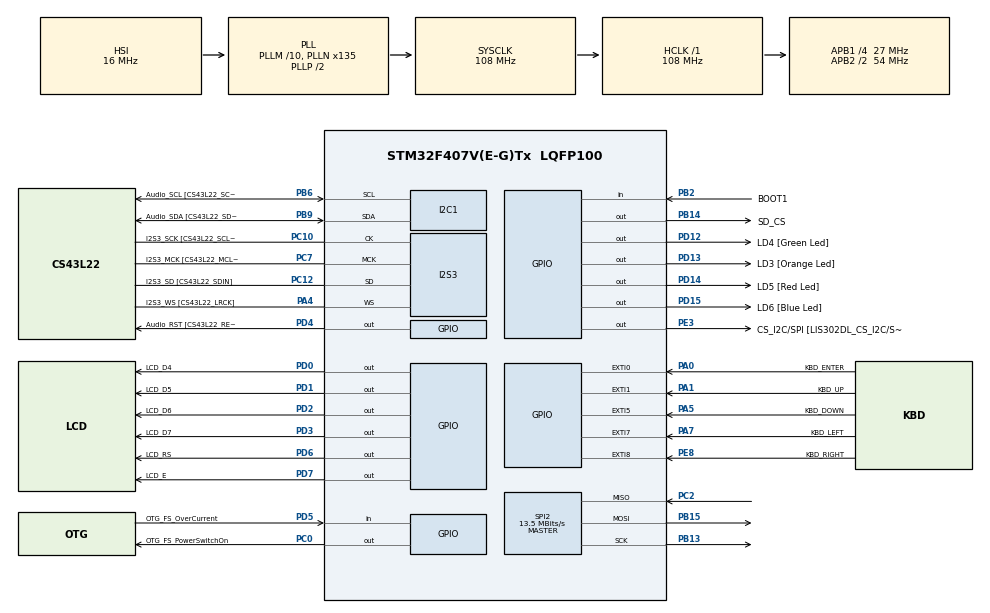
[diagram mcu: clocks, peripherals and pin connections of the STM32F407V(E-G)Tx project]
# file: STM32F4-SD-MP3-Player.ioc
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Dma.Request0=SPI3_TX
Dma.SPI3_TX.0.Direction=DMA_MEMORY_TO_PERIPH
Dma.SPI3_TX.0.FIFOMode=DMA_FIFOMODE_DISABLE
Dma.SPI3_TX.0.Instance=DMA1_Stream5
Dma.SPI3_TX.0.MemDataAlignment=DMA_MDATAALIGN_HALFWORD
Dma.SPI3_TX.0.MemInc=DMA_MINC_ENABLE
Dma.SPI3_TX.0.Mode=DMA_CIRCULAR
Dma.SPI3_TX.0.PeriphDataAlignment=DMA_PDATAALIGN_HALFWORD
Dma.SPI3_TX.0.PeriphInc=DMA_PINC_DISABLE
Dma.SPI3_TX.0.Priority=DMA_PRIORITY_LOW
FATFS._CODE_PAGE=850
FATFS._USE_LFN=1
FATFS._USE_MKFS=0
I2S3.AudioFreq=I2S_AUDIOFREQ_44K
I2S3.ErrorAudioFreq=0.24 %
I2S3.FullDuplexMode=I2S_FULLDUPLEXMODE_DISABLE
I2S3.Instance=SPI$Index
I2S3.RealAudioFreq=44.107 KHz
I2S3.VirtualMode=I2S_MODE_MASTER
Mcu.Family=STM32F4
Mcu.Name=STM32F407V(E-G)Tx
Mcu.Package=LQFP100
NVIC.DMA1_Stream5_IRQn=true\:0\:0\:false\:false\:true\:false\:true\:true
NVIC.EXTI0_IRQn=true\:0\:0\:false\:false\:true\:true\:true\:true
NVIC.EXTI1_IRQn=true\:0\:0\:false\:false\:true\:true\:true\:true
NVIC.EXTI9_5_IRQn=true\:0\:0\:false\:false\:true\:true\:true\:true
NVIC.PriorityGroup=NVIC_PRIORITYGROUP_0
PA0-WKUP.GPIO_Label=KBD_ENTER
PA0-WKUP.Signal=GPXTI0
PA1.GPIO_Label=KBD_UP
PA1.GPIO_ModeDefaultEXTI=GPIO_MODE_IT_FALLING
PA1.GPIO_PuPd=GPIO_PULLUP
PA1.Signal=GPXTI1
PA10.GPIO_Label=OTG_FS_ID
PA10.GPIO_Mode=GPIO_MODE_AF_PP
PA10.GPIO_PuPd=GPIO_NOPULL
PA10.GPIO_Speed=GPIO_SPEED_FREQ_LOW
PA10.Signal=USB_OTG_FS_ID
PA11.GPIO_Label=OTG_FS_DM
PA11.GPIO_Mode=GPIO_MODE_AF_PP
PA11.GPIO_PuPd=GPIO_NOPULL
PA11.GPIO_Speed=GPIO_SPEED_FREQ_LOW
PA11.Signal=USB_OTG_FS_DM
PA12.GPIO_Label=OTG_FS_DP
PA12.GPIO_Mode=GPIO_MODE_AF_PP
PA12.GPIO_PuPd=GPIO_NOPULL
PA12.GPIO_Speed=GPIO_SPEED_FREQ_LOW
PA12.Signal=USB_OTG_FS_DP
PA13.GPIO_Label=SWDIO
PA13.Signal=SYS_JTMS-SWDIO
PA14.GPIO_Label=SWCLK
PA14.Signal=SYS_JTCK-SWCLK
PA4.GPIO_Label=I2S3_WS [CS43L22_LRCK]
PA4.GPIO_Mode=GPIO_MODE_AF_PP
PA4.GPIO_PuPd=GPIO_NOPULL
PA4.GPIO_Speed=GPIO_SPEED_FREQ_LOW
PA4.Mode=Half_Duplex_Master
PA4.Signal=I2S3_WS
PA5.GPIO_Label=KBD_DOWN
PA5.GPIO_ModeDefaultEXTI=GPIO_MODE_IT_FALLING
PA5.GPIO_PuPd=GPIO_PULLUP
PA5.Signal=GPXTI5
PA7.GPIO_Label=KBD_LEFT
PA7.GPIO_ModeDefaultEXTI=GPIO_MODE_IT_FALLING
PA7.GPIO_PuPd=GPIO_PULLUP
PA7.Signal=GPXTI7
PA9.GPIO_Label=VBUS_FS
PA9.GPIO_Mode=GPIO_MODE_INPUT
PA9.GPIO_PuPd=GPIO_NOPULL
PA9.Signal=USB_OTG_FS_VBUS
PB10.GPIO_Label=CLK_IN [MP45DT02_CLK]
PB10.GPIO_Mode=GPIO_MODE_AF_PP
PB10.GPIO_PuPd=GPIO_NOPULL
PB10.GPIO_Speed=GPIO_SPEED_FREQ_LOW
PB10.Signal=I2S2_CK
PB13.Mode=Full_Duplex_Master
PB13.Signal=SPI2_SCK
PB14.GPIO_Label=SD_CS
PB14.PinState=GPIO_PIN_SET
PB14.Signal=GPIO_Output
PB15.Mode=Full_Duplex_Master
PB15.Signal=SPI2_MOSI
PB2.GPIO_Label=BOOT1
PB2.GPIO_Mode=GPIO_MODE_INPUT
PB2.GPIO_PuPd=GPIO_NOPULL
PB2.Signal=GPIO_Input
PB3.GPIO_Label=SWO
PB3.Signal=SYS_JTDO-SWO
PB6.GPIO_Label=Audio_SCL [CS43L22_SCL]
PB6.GPIO_Mode=GPIO_MODE_AF_OD
PB6.GPIO_PuPd=GPIO_NOPULL
PB6.GPIO_Speed=GPIO_SPEED_FREQ_LOW
PB6.Mode=I2C
PB6.Signal=I2C1_SCL
PB9.GPIO_Label=Audio_SDA [CS43L22_SDA]
PB9.GPIO_Mode=GPIO_MODE_AF_OD
PB9.GPIO_PuPd=GPIO_NOPULL
PB9.GPIO_Speed=GPIO_SPEED_FREQ_LOW
PB9.Mode=I2C
PB9.Signal=I2C1_SDA
PC0.GPIO_Label=OTG_FS_PowerSwitchOn
PC0.GPIO_PuPd=GPIO_NOPULL
PC0.GPIO_Speed=GPIO_SPEED_FREQ_LOW
PC0.PinState=GPIO_PIN_SET
PC0.Signal=GPIO_Output
PC10.GPIO_Label=I2S3_SCK [CS43L22_SCLK]
PC10.GPIO_Mode=GPIO_MODE_AF_PP
PC10.GPIO_PuPd=GPIO_NOPULL
PC10.GPIO_Speed=GPIO_SPEED_FREQ_LOW
PC10.Mode=Half_Duplex_Master
PC10.Signal=I2S3_CK
PC12.GPIO_Label=I2S3_SD [CS43L22_SDIN]
PC12.GPIO_Mode=GPIO_MODE_AF_PP
PC12.GPIO_PuPd=GPIO_NOPULL
PC12.GPIO_Speed=GPIO_SPEED_FREQ_LOW
PC12.Mode=Half_Duplex_Master
PC12.Signal=I2S3_SD
PC14-OSC32_IN.GPIO_Label=PC14-OSC32_IN
PC14-OSC32_IN.Signal=RCC_OSC32_IN
PC15-OSC32_OUT.GPIO_Label=PC15-OSC32_OUT
PC15-OSC32_OUT.Signal=RCC_OSC32_OUT
PC2.Mode=Full_Duplex_Master
PC2.Signal=SPI2_MISO
PC3.GPIO_Label=PDM_OUT [MP45DT02_DOUT]
PC3.GPIO_Mode=GPIO_MODE_AF_PP
PC3.GPIO_PuPd=GPIO_NOPULL
PC3.GPIO_Speed=GPIO_SPEED_FREQ_LOW
PC3.Signal=I2S2_SD
PC7.GPIO_Label=I2S3_MCK [CS43L22_MCLK]
PC7.GPIO_Mode=GPIO_MODE_AF_PP
PC7.GPIO_PuPd=GPIO_NOPULL
PC7.GPIO_Speed=GPIO_SPEED_FREQ_LOW
PC7.Mode=Master_Clock_Activated
PC7.Signal=I2S3_MCK
PD0.GPIO_Label=LCD_D4
PD0.Signal=GPIO_Output
PD1.GPIO_Label=LCD_D5
PD1.Signal=GPIO_Output
PD12.GPIO_Label=LD4 [Green Led]
PD12.GPIO_PuPd=GPIO_NOPULL
PD12.GPIO_Speed=GPIO_SPEED_FREQ_LOW
PD12.Signal=GPIO_Output
PD13.GPIO_Label=LD3 [Orange Led]
PD13.GPIO_PuPd=GPIO_NOPULL
PD13.GPIO_Speed=GPIO_SPEED_FREQ_LOW
PD13.Signal=GPIO_Output
PD14.GPIO_Label=LD5 [Red Led]
PD14.GPIO_PuPd=GPIO_NOPULL
PD14.GPIO_Speed=GPIO_SPEED_FREQ_LOW
PD14.Signal=GPIO_Output
PD15.GPIO_Label=LD6 [Blue Led]
PD15.GPIO_PuPd=GPIO_NOPULL
PD15.GPIO_Speed=GPIO_SPEED_FREQ_LOW
PD15.Signal=GPIO_Output
PD2.GPIO_Label=LCD_D6
PD2.Signal=GPIO_Output
PD3.GPIO_Label=LCD_D7
PD3.Signal=GPIO_Output
PD4.GPIO_Label=Audio_RST [CS43L22_RESET]
PD4.GPIO_PuPd=GPIO_NOPULL
PD4.GPIO_Speed=GPIO_SPEED_FREQ_LOW
PD4.Signal=GPIO_Output
PD5.GPIO_Label=OTG_FS_OverCurrent
PD5.GPIO_Mode=GPIO_MODE_INPUT
PD5.GPIO_PuPd=GPIO_NOPULL
PD5.Signal=GPIO_Input
PD6.GPIO_Label=LCD_RS
PD6.Signal=GPIO_Output
PD7.GPIO_Label=LCD_E
PD7.Signal=GPIO_Output
PE3.GPIO_Label=CS_I2C/SPI [LIS302DL_CS_I2C/SPI]
PE3.GPIO_PuPd=GPIO_NOPULL
PE3.GPIO_Speed=GPIO_SPEED_FREQ_LOW
PE3.Signal=GPIO_Output
PE8.GPIO_Label=KBD_RIGHT
PE8.GPIO_ModeDefaultEXTI=GPIO_MODE_IT_FALLING
PE8.GPIO_PuPd=GPIO_PULLUP
PE8.Signal=GPXTI8
PH0-OSC_IN.GPIO_Label=PH0-OSC_IN
PH0-OSC_IN.Signal=RCC_OSC_IN
PH1-OSC_OUT.GPIO_Label=PH1-OSC_OUT
PH1-OSC_OUT.Signal=RCC_OSC_OUT
ProjectManager.HeapSize=0x200
ProjectManager.StackSize=0x400
ProjectManager.TargetToolchain=STM32CubeIDE
RCC.48MHZClocksFreq_Value=30857142.85714286
RCC.AHBFreq_Value=108000000
RCC.APB1CLKDivider=RCC_HCLK_DIV4
RCC.APB1Freq_Value=27000000
RCC.APB1TimFreq_Value=54000000
RCC.APB2CLKDivider=RCC_HCLK_DIV2
RCC.APB2Freq_Value=54000000
RCC.APB2TimFreq_Value=108000000
RCC.CortexFreq_Value=108000000
RCC.HCLKFreq_Value=108000000
RCC.HSE_VALUE=8000000
RCC.HSI_VALUE=16000000
RCC.LSE_VALUE=32768
RCC.PLLI2SN=247
RCC.PLLI2SR=5
RCC.PLLM=10
RCC.PLLN=135
RCC.PLLQ=7
RCC.SYSCLKFreq_VALUE=108000000
RCC.SYSCLKSource=RCC_SYSCLKSOURCE_PLLCLK
RCC.VCOOutputFreq_Value=216000000
SPI2.CalculateBaudRate=13.5 MBits/s
SPI2.Direction=SPI_DIRECTION_2LINES
SPI2.Mode=SPI_MODE_MASTER
SPI2.VirtualType=VM_MASTER
TIM6.Prescaler=54-1
VP_FATFS_VS_Generic.Mode=User_defined
VP_TIM6_VS_ClockSourceINT.Mode=Enable_Timer
board=STM32F407G-DISC1

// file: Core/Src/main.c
/* USER CODE BEGIN Header */
/**
  ******************************************************************************
  * @file           : main.c
  * @brief          : Main program body
  ******************************************************************************
  * @attention
  *
  * Copyright (c) 2023 STMicroelectronics.
  * All rights reserved.
  *
  * This software is licensed under terms that can be found in the LICENSE file
  * in the root directory of this software component.
  * If no LICENSE file comes with this software, it is provided AS-IS.
  *
  ******************************************************************************
  */
/* USER CODE END Header */
#include "main.h"
#include "fatfs.h"

/* USER CODE BEGIN Includes */
#include <stdio.h>
#include <stdbool.h>
#include "HD44780.h"
#include "HD44780_io_wrapper.h"
#include "display.h"
#include "dir.h"
#include "keyboard.h"
#include "player.h"
#include "gui.h"
#include "delay.h"
/* USER CODE END Includes */

I2C_HandleTypeDef hi2c1;

I2S_HandleTypeDef hi2s3;
DMA_HandleTypeDef hdma_spi3_tx;

SPI_HandleTypeDef hspi2;

TIM_HandleTypeDef htim6;

void SystemClock_Config(void);
static void MX_GPIO_Init(void);
static void MX_DMA_Init(void);
static void MX_I2C1_Init(void);
static void MX_I2S3_Init(void);
static void MX_SPI2_Init(void);
static void MX_TIM6_Init(void);

/* USER CODE BEGIN 0 */
static void __attribute__((noreturn)) halt(void) {
	while (1);
}
/* USER CODE END 0 */

int main(void)
{

  /* MCU Configuration--------------------------------------------------------*/

  /* Reset of all peripherals, Initializes the Flash interface and the Systick. */
  HAL_Init();

  /* Configure the system clock */
  SystemClock_Config();

  /* Initialize all configured peripherals */
  MX_GPIO_Init();
  MX_DMA_Init();
  MX_I2C1_Init();
  MX_I2S3_Init();
  MX_SPI2_Init();
  MX_FATFS_Init();
  MX_TIM6_Init();
  /* USER CODE BEGIN 2 */
  const char *const mount_point = "";
  HD44780_config_t display_config = {
  		  .io = HD44780_get_io(),
  		  .type = HD44780_DISPLAY_20x2,
  		  .entry_mode_flags = HD44780_INCREASE_CURSOR_ON,
  		  .on_off_flags = HD44780_DISPLAY_ON
  };

  delay_init(&htim6);
  delay_ms(100); // Wait for display to perform internal reset

  HD44780_init(&display_config);
  HD44780_write_string("STM32F4 MP3 Player");
  HD44780_gotoxy(2, 1);
  HD44780_write_string("Lefucjusz, 2023");
  delay_ms(2000);

  FATFS fatfs;
  FRESULT ret = f_mount(&fatfs, mount_point, 1);
  if (ret != FR_OK) {
	  HD44780_clear();
	  HD44780_write_string("Error: failed to");
	  HD44780_gotoxy(2, 1);
	  HD44780_write_string("mount SD card!");
	  halt();
  }

  dir_init(mount_point);
  keyboard_init();
  display_init();
  player_init(&hi2s3, &hi2c1);
  gui_init();

  while (1) {
	  gui_task();
	  player_task();
  }

  player_stop();
  gui_deinit();
  display_deinit();
  f_mount(NULL, mount_point, 0);
  halt();
  /* USER CODE END 2 */

  /* Infinite loop */
  while (1)
  {

  }
}

void SystemClock_Config(void)
{
  RCC_OscInitTypeDef RCC_OscInitStruct = {0};
  RCC_ClkInitTypeDef RCC_ClkInitStruct = {0};

  /** Configure the main internal regulator output voltage
  */
  __HAL_RCC_PWR_CLK_ENABLE();
  __HAL_PWR_VOLTAGESCALING_CONFIG(PWR_REGULATOR_VOLTAGE_SCALE1);

  /** Initializes the RCC Oscillators according to the specified parameters
  * in the RCC_OscInitTypeDef structure.
  */
  RCC_OscInitStruct.OscillatorType = RCC_OSCILLATORTYPE_HSI;
  RCC_OscInitStruct.HSIState = RCC_HSI_ON;
  RCC_OscInitStruct.HSICalibrationValue = RCC_HSICALIBRATION_DEFAULT;
  RCC_OscInitStruct.PLL.PLLState = RCC_PLL_ON;
  RCC_OscInitStruct.PLL.PLLSource = RCC_PLLSOURCE_HSI;
  RCC_OscInitStruct.PLL.PLLM = 10;
  RCC_OscInitStruct.PLL.PLLN = 135;
  RCC_OscInitStruct.PLL.PLLP = RCC_PLLP_DIV2;
  RCC_OscInitStruct.PLL.PLLQ = 7;
  if (HAL_RCC_OscConfig(&RCC_OscInitStruct) != HAL_OK)
  {
    Error_Handler();
  }

  /** Initializes the CPU, AHB and APB buses clocks
  */
  RCC_ClkInitStruct.ClockType = RCC_CLOCKTYPE_HCLK|RCC_CLOCKTYPE_SYSCLK
                              |RCC_CLOCKTYPE_PCLK1|RCC_CLOCKTYPE_PCLK2;
  RCC_ClkInitStruct.SYSCLKSource = RCC_SYSCLKSOURCE_PLLCLK;
  RCC_ClkInitStruct.AHBCLKDivider = RCC_SYSCLK_DIV1;
  RCC_ClkInitStruct.APB1CLKDivider = RCC_HCLK_DIV4;
  RCC_ClkInitStruct.APB2CLKDivider = RCC_HCLK_DIV2;

  if (HAL_RCC_ClockConfig(&RCC_ClkInitStruct, FLASH_LATENCY_3) != HAL_OK)
  {
    Error_Handler();
  }
}

static void MX_I2C1_Init(void)
{

  hi2c1.Instance = I2C1;
  hi2c1.Init.ClockSpeed = 100000;
  hi2c1.Init.DutyCycle = I2C_DUTYCYCLE_2;
  hi2c1.Init.OwnAddress1 = 0;
  hi2c1.Init.AddressingMode = I2C_ADDRESSINGMODE_7BIT;
  hi2c1.Init.DualAddressMode = I2C_DUALADDRESS_DISABLE;
  hi2c1.Init.OwnAddress2 = 0;
  hi2c1.Init.GeneralCallMode = I2C_GENERALCALL_DISABLE;
  hi2c1.Init.NoStretchMode = I2C_NOSTRETCH_DISABLE;
  if (HAL_I2C_Init(&hi2c1) != HAL_OK)
  {
    Error_Handler();
  }

}

static void MX_I2S3_Init(void)
{

  hi2s3.Instance = SPI3;
  hi2s3.Init.Mode = I2S_MODE_MASTER_TX;
  hi2s3.Init.Standard = I2S_STANDARD_PHILIPS;
  hi2s3.Init.DataFormat = I2S_DATAFORMAT_16B;
  hi2s3.Init.MCLKOutput = I2S_MCLKOUTPUT_ENABLE;
  hi2s3.Init.AudioFreq = I2S_AUDIOFREQ_44K;
  hi2s3.Init.CPOL = I2S_CPOL_LOW;
  hi2s3.Init.ClockSource = I2S_CLOCK_PLL;
  hi2s3.Init.FullDuplexMode = I2S_FULLDUPLEXMODE_DISABLE;
  if (HAL_I2S_Init(&hi2s3) != HAL_OK)
  {
    Error_Handler();
  }

}

static void MX_SPI2_Init(void)
{

  /* SPI2 parameter configuration*/
  hspi2.Instance = SPI2;
  hspi2.Init.Mode = SPI_MODE_MASTER;
  hspi2.Init.Direction = SPI_DIRECTION_2LINES;
  hspi2.Init.DataSize = SPI_DATASIZE_8BIT;
  hspi2.Init.CLKPolarity = SPI_POLARITY_LOW;
  hspi2.Init.CLKPhase = SPI_PHASE_1EDGE;
  hspi2.Init.NSS = SPI_NSS_SOFT;
  hspi2.Init.BaudRatePrescaler = SPI_BAUDRATEPRESCALER_2;
  hspi2.Init.FirstBit = SPI_FIRSTBIT_MSB;
  hspi2.Init.TIMode = SPI_TIMODE_DISABLE;
  hspi2.Init.CRCCalculation = SPI_CRCCALCULATION_DISABLE;
  hspi2.Init.CRCPolynomial = 10;
  if (HAL_SPI_Init(&hspi2) != HAL_OK)
  {
    Error_Handler();
  }

}

static void MX_TIM6_Init(void)
{

  TIM_MasterConfigTypeDef sMasterConfig = {0};

  htim6.Instance = TIM6;
  htim6.Init.Prescaler = 54-1;
  htim6.Init.CounterMode = TIM_COUNTERMODE_UP;
  htim6.Init.Period = 65535;
  htim6.Init.AutoReloadPreload = TIM_AUTORELOAD_PRELOAD_DISABLE;
  if (HAL_TIM_Base_Init(&htim6) != HAL_OK)
  {
    Error_Handler();
  }
  sMasterConfig.MasterOutputTrigger = TIM_TRGO_RESET;
  sMasterConfig.MasterSlaveMode = TIM_MASTERSLAVEMODE_DISABLE;
  if (HAL_TIMEx_MasterConfigSynchronization(&htim6, &sMasterConfig) != HAL_OK)
  {
    Error_Handler();
  }

}

static void MX_DMA_Init(void)
{

  /* DMA controller clock enable */
  __HAL_RCC_DMA1_CLK_ENABLE();

  /* DMA interrupt init */
  /* DMA1_Stream5_IRQn interrupt configuration */
  HAL_NVIC_SetPriority(DMA1_Stream5_IRQn, 0, 0);
  HAL_NVIC_EnableIRQ(DMA1_Stream5_IRQn);

}

static void MX_GPIO_Init(void)
{
  GPIO_InitTypeDef GPIO_InitStruct = {0};

  /* GPIO Ports Clock Enable */
  __HAL_RCC_GPIOE_CLK_ENABLE();
  __HAL_RCC_GPIOC_CLK_ENABLE();
  __HAL_RCC_GPIOH_CLK_ENABLE();
  __HAL_RCC_GPIOA_CLK_ENABLE();
  __HAL_RCC_GPIOB_CLK_ENABLE();
  __HAL_RCC_GPIOD_CLK_ENABLE();

  /*Configure GPIO pin Output Level */
  HAL_GPIO_WritePin(CS_I2C_SPI_GPIO_Port, CS_I2C_SPI_Pin, GPIO_PIN_RESET);

  /*Configure GPIO pin Output Level */
  HAL_GPIO_WritePin(OTG_FS_PowerSwitchOn_GPIO_Port, OTG_FS_PowerSwitchOn_Pin, GPIO_PIN_SET);

  /*Configure GPIO pin Output Level */
  HAL_GPIO_WritePin(SD_CS_GPIO_Port, SD_CS_Pin, GPIO_PIN_SET);

  /*Configure GPIO pin Output Level */
  HAL_GPIO_WritePin(GPIOD, LD4_Pin|LD3_Pin|LD5_Pin|LD6_Pin
                          |LCD_D4_Pin|LCD_D5_Pin|LCD_D6_Pin|LCD_D7_Pin
                          |Audio_RST_Pin|LCD_RS_Pin|LCD_E_Pin, GPIO_PIN_RESET);

  /*Configure GPIO pin : CS_I2C_SPI_Pin */
  GPIO_InitStruct.Pin = CS_I2C_SPI_Pin;
  GPIO_InitStruct.Mode = GPIO_MODE_OUTPUT_PP;
  GPIO_InitStruct.Pull = GPIO_NOPULL;
  GPIO_InitStruct.Speed = GPIO_SPEED_FREQ_LOW;
  HAL_GPIO_Init(CS_I2C_SPI_GPIO_Port, &GPIO_InitStruct);

  /*Configure GPIO pin : OTG_FS_PowerSwitchOn_Pin */
  GPIO_InitStruct.Pin = OTG_FS_PowerSwitchOn_Pin;
  GPIO_InitStruct.Mode = GPIO_MODE_OUTPUT_PP;
  GPIO_InitStruct.Pull = GPIO_NOPULL;
  GPIO_InitStruct.Speed = GPIO_SPEED_FREQ_LOW;
  HAL_GPIO_Init(OTG_FS_PowerSwitchOn_GPIO_Port, &GPIO_InitStruct);

  /*Configure GPIO pin : PDM_OUT_Pin */
  GPIO_InitStruct.Pin = PDM_OUT_Pin;
  GPIO_InitStruct.Mode = GPIO_MODE_AF_PP;
  GPIO_InitStruct.Pull = GPIO_NOPULL;
  GPIO_InitStruct.Speed = GPIO_SPEED_FREQ_LOW;
  GPIO_InitStruct.Alternate = GPIO_AF5_SPI2;
  HAL_GPIO_Init(PDM_OUT_GPIO_Port, &GPIO_InitStruct);

  /*Configure GPIO pin : KBD_ENTER_Pin */
  GPIO_InitStruct.Pin = KBD_ENTER_Pin;
  GPIO_InitStruct.Mode = GPIO_MODE_IT_RISING;
  GPIO_InitStruct.Pull = GPIO_NOPULL;
  HAL_GPIO_Init(KBD_ENTER_GPIO_Port, &GPIO_InitStruct);

  /*Configure GPIO pins : KBD_UP_Pin KBD_DOWN_Pin KBD_LEFT_Pin */
  GPIO_InitStruct.Pin = KBD_UP_Pin|KBD_DOWN_Pin|KBD_LEFT_Pin;
  GPIO_InitStruct.Mode = GPIO_MODE_IT_FALLING;
  GPIO_InitStruct.Pull = GPIO_PULLUP;
  HAL_GPIO_Init(GPIOA, &GPIO_InitStruct);

  /*Configure GPIO pin : BOOT1_Pin */
  GPIO_InitStruct.Pin = BOOT1_Pin;
  GPIO_InitStruct.Mode = GPIO_MODE_INPUT;
  GPIO_InitStruct.Pull = GPIO_NOPULL;
  HAL_GPIO_Init(BOOT1_GPIO_Port, &GPIO_InitStruct);

  /*Configure GPIO pin : KBD_RIGHT_Pin */
  GPIO_InitStruct.Pin = KBD_RIGHT_Pin;
  GPIO_InitStruct.Mode = GPIO_MODE_IT_FALLING;
  GPIO_InitStruct.Pull = GPIO_PULLUP;
  HAL_GPIO_Init(KBD_RIGHT_GPIO_Port, &GPIO_InitStruct);

  /*Configure GPIO pin : CLK_IN_Pin */
  GPIO_InitStruct.Pin = CLK_IN_Pin;
  GPIO_InitStruct.Mode = GPIO_MODE_AF_PP;
  GPIO_InitStruct.Pull = GPIO_NOPULL;
  GPIO_InitStruct.Speed = GPIO_SPEED_FREQ_LOW;
  GPIO_InitStruct.Alternate = GPIO_AF5_SPI2;
  HAL_GPIO_Init(CLK_IN_GPIO_Port, &GPIO_InitStruct);

  /*Configure GPIO pin : SD_CS_Pin */
  GPIO_InitStruct.Pin = SD_CS_Pin;
  GPIO_InitStruct.Mode = GPIO_MODE_OUTPUT_PP;
  GPIO_InitStruct.Pull = GPIO_NOPULL;
  GPIO_InitStruct.Speed = GPIO_SPEED_FREQ_LOW;
  HAL_GPIO_Init(SD_CS_GPIO_Port, &GPIO_InitStruct);

  /*Configure GPIO pins : LD4_Pin LD3_Pin LD5_Pin LD6_Pin
                           LCD_D4_Pin LCD_D5_Pin LCD_D6_Pin LCD_D7_Pin
                           Audio_RST_Pin LCD_RS_Pin LCD_E_Pin */
  GPIO_InitStruct.Pin = LD4_Pin|LD3_Pin|LD5_Pin|LD6_Pin
                          |LCD_D4_Pin|LCD_D5_Pin|LCD_D6_Pin|LCD_D7_Pin
                          |Audio_RST_Pin|LCD_RS_Pin|LCD_E_Pin;
  GPIO_InitStruct.Mode = GPIO_MODE_OUTPUT_PP;
  GPIO_InitStruct.Pull = GPIO_NOPULL;
  GPIO_InitStruct.Speed = GPIO_SPEED_FREQ_LOW;
  HAL_GPIO_Init(GPIOD, &GPIO_InitStruct);

  /*Configure GPIO pin : VBUS_FS_Pin */
  GPIO_InitStruct.Pin = VBUS_FS_Pin;
  GPIO_InitStruct.Mode = GPIO_MODE_INPUT;
  GPIO_InitStruct.Pull = GPIO_NOPULL;
  HAL_GPIO_Init(VBUS_FS_GPIO_Port, &GPIO_InitStruct);

  /*Configure GPIO pins : OTG_FS_ID_Pin OTG_FS_DM_Pin OTG_FS_DP_Pin */
  GPIO_InitStruct.Pin = OTG_FS_ID_Pin|OTG_FS_DM_Pin|OTG_FS_DP_Pin;
  GPIO_InitStruct.Mode = GPIO_MODE_AF_PP;
  GPIO_InitStruct.Pull = GPIO_NOPULL;
  GPIO_InitStruct.Speed = GPIO_SPEED_FREQ_LOW;
  GPIO_InitStruct.Alternate = GPIO_AF10_OTG_FS;
  HAL_GPIO_Init(GPIOA, &GPIO_InitStruct);

  /*Configure GPIO pin : OTG_FS_OverCurrent_Pin */
  GPIO_InitStruct.Pin = OTG_FS_OverCurrent_Pin;
  GPIO_InitStruct.Mode = GPIO_MODE_INPUT;
  GPIO_InitStruct.Pull = GPIO_NOPULL;
  HAL_GPIO_Init(OTG_FS_OverCurrent_GPIO_Port, &GPIO_InitStruct);

  /* EXTI interrupt init*/
  HAL_NVIC_SetPriority(EXTI0_IRQn, 0, 0);
  HAL_NVIC_EnableIRQ(EXTI0_IRQn);

  HAL_NVIC_SetPriority(EXTI1_IRQn, 0, 0);
  HAL_NVIC_EnableIRQ(EXTI1_IRQn);

  HAL_NVIC_SetPriority(EXTI9_5_IRQn, 0, 0);
  HAL_NVIC_EnableIRQ(EXTI9_5_IRQn);

}

void Error_Handler(void)
{
  __disable_irq();
  while (1)
  {
  }
}
